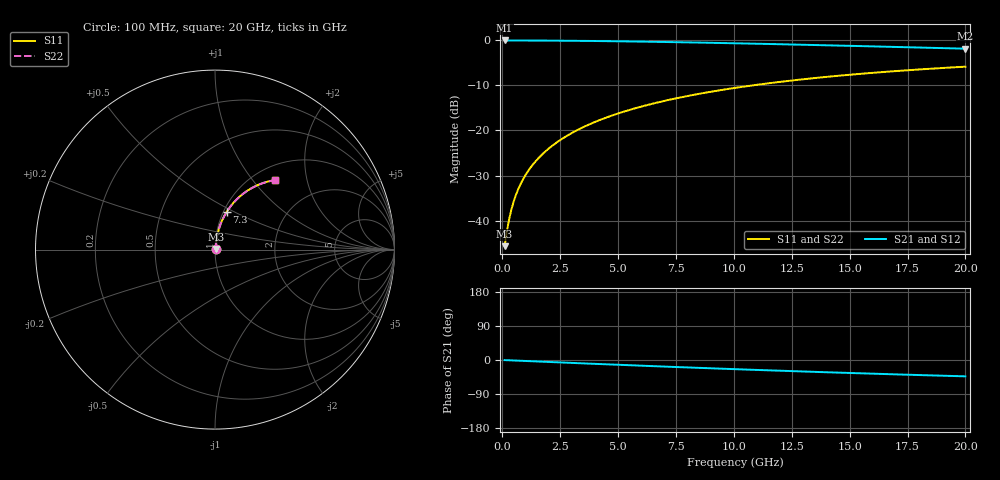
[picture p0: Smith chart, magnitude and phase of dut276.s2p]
! Touchstone file exported from HFSS 2024.1.0
!  File:  C:/UserFiles/LocalFiles/RDL_TSV_Batchsim/temp_RDL_top_276_1778689858.aedt
!  Generated:  12:33:41 AM May 14, 2026
!  Design:  RDL_top
!  Project:  temp_RDL_top_276_1778689858
!  Setup:  Setup1
!  Solution:  Sweep
! Variables:
!  dtsv = 10.80580581um
!  hbump = 3um
!  htsv = 85.23um
!  ldown = 100um
!  lrdl = 515.48um
!  p = 40
!  p1 = 59.02um
!  rhole = 1um
!  t = 450um
!  tdown = 3.915915916um
!  trdl = 4.14um
!  wdown = 15.38538539um
!  wrdl = 10.88um
# GHz S MA R 50.000000
! Terminal data exported
! Port[1] = Box2_T1
! Port[2] = Box2_T2
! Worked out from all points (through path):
!   200 points, 100 MHz to 20 GHz, reference 50 ohm
!   highest |S21| = -0.04 dB at 100 MHz (marker M1); lowest = -1.9 dB at 20 GHz (marker M2)
!   group delay of S21, straight-line fit = 6 ps
!   lowest |S11| = -45.7 dB at 100 MHz (marker M3), VSWR 1.01, Z = 50.4 + j0.323 ohm
!   |S11| at or under -10 dB: start of sweep to 10.81 GHz
!   |S22| runs from -45.7 to -5.9 dB; largest |S21 - S12| = 4.4e-15
!   S11 on the Smith chart (normalised r, x): 100 MHz: 1.01, +0.01; 7.3 GHz: 1.04, +0.46; 20 GHz: 1.24, +1.30
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0.1  0.005201 38.0  0.9959 -0.3  0.9959 -0.3  0.005201 38.0
! Gamma 0 0 0 0
! Port Impedance 50 0 50 0
0.2  0.007634 56.9  0.9958 -0.5  0.9958 -0.5  0.007634 56.9
0.3  0.01048 65.9  0.9957 -0.8  0.9957 -0.8  0.01048 65.9
0.4  0.01347 70.8  0.9956 -1.0  0.9956 -1.0  0.01348 70.8
0.5  0.01652 73.8  0.9955 -1.3  0.9955 -1.3  0.01652 73.8
0.6  0.01958 75.8  0.9953 -1.6  0.9953 -1.6  0.01959 75.8
0.8  0.02574 78.3  0.995 -2.1  0.995 -2.1  0.02574 78.3
1.1  0.03499 80.1  0.9944 -2.8  0.9944 -2.8  0.03499 80.1
1.5  0.04734 81.0  0.9935 -3.9  0.9935 -3.9  0.04735 81.0
1.8  0.05661 81.2  0.9926 -4.6  0.9926 -4.6  0.05661 81.2
2.1  0.06587 81.2  0.9916 -5.4  0.9916 -5.4  0.06587 81.2
2.7  0.08435 80.8  0.9892 -6.9  0.9892 -6.9  0.08435 80.8
3.5  0.1089 79.7  0.9851 -8.9  0.9851 -8.9  0.1089 79.7
4.2  0.1301 78.6  0.9808 -10.7  0.9808 -10.7  0.1301 78.6
5  0.1542 77.1  0.9752 -12.6  0.9752 -12.6  0.1542 77.1
6.8  0.207 73.7  0.9601 -16.9  0.9601 -16.9  0.207 73.7
7.3  0.2213 72.7  0.9555 -18.1  0.9555 -18.1  0.2213 72.7
8.6  0.2576 70.1  0.9425 -21.0  0.9425 -21.0  0.2576 70.1
10.1  0.2979 67.2  0.9263 -24.3  0.9263 -24.3  0.2978 67.1
13.4  0.3792 60.8  0.8878 -31.2  0.8878 -31.2  0.3791 60.8
16.7  0.4499 54.9  0.8474 -37.4  0.8474 -37.4  0.4497 54.8
20  0.5099 49.4  0.8073 -43.1  0.8073 -43.1  0.5098 49.3
